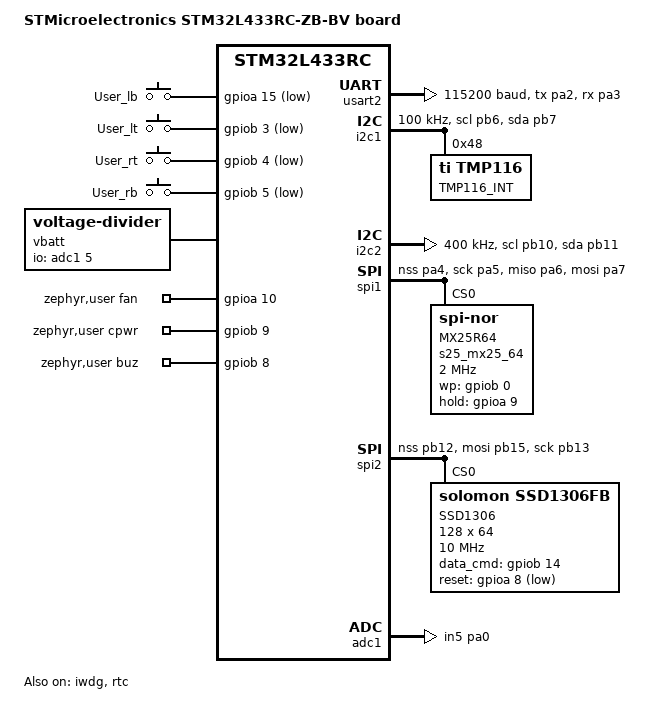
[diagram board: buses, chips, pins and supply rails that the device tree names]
/*
 * Copyright (c) 2021 ZedBlox
 *
 * SPDX-License-Identifier: Apache-2.0
 */

/dts-v1/;
#include <st/l4/stm32l433Xc.dtsi>
#include <st/l4/stm32l433rctxp-pinctrl.dtsi>

/ {
	model = "STMicroelectronics STM32L433RC-ZB-BV board";
	compatible = "st,stm32l433rc-p-zb-bv";

	chosen {
		zephyr,console = &usart2;
		zephyr,sram = &sram0;
		zephyr,flash = &flash0;
		zephyr,canbus = &can1;
	};

	gpio_keys {
		compatible = "gpio-keys";
		user_button_lb: button_lb {
			label = "User_lb";
			gpios = <&gpioa 15 GPIO_ACTIVE_LOW>;
		};
		user_button_lt: button_lt {
			label = "User_lt";
			gpios = <&gpiob 3 GPIO_ACTIVE_LOW>;
		};
		user_button_rt: button_rt {
			label = "User_rt";
			gpios = <&gpiob 4 GPIO_ACTIVE_LOW>;
		};
		user_button_rb: button_rb {
			label = "User_rb";
			gpios = <&gpiob 5 GPIO_ACTIVE_LOW>;
		};
	};

	aliases {
		sw0 = &user_button_lb;
		sw1 = &user_button_lt;
		sw2 = &user_button_rt;
		sw3 = &user_button_rb;
	};

	vbatt {
        status = "okay";
		compatible = "voltage-divider";
		io-channels = <&adc1 5>;
		output-ohms = <47000>;
		full-ohms = <(47000 + 220000)>;
	};

    zephyr,user {
		gpioa_h = <&gpioa>;
		gpiob_h = <&gpiob>;
		fan-gpios = <&gpioa 10 GPIO_ACTIVE_HIGH>;
		cpwr-gpios = <&gpiob 9 GPIO_ACTIVE_HIGH>;
		buz-gpios = <&gpiob 8 GPIO_ACTIVE_HIGH>;
		//cadc-channels = <&adc1 9>;
		//ntc-channels = <&adc1 1>;
    };
};

&clk_hsi {
	status = "okay";
};

&pll {
	div-m = <1>;
	mul-n = <20>;
	div-p = <7>;
	div-q = <2>;
	div-r = <4>;
	clocks = <&clk_hsi>;
	status = "okay";
};

&rcc {
	clocks = <&pll>;
	clock-frequency = <DT_FREQ_M(80)>;
	ahb-prescaler = <1>;
	apb1-prescaler = <1>;
	apb2-prescaler = <1>;
};

//zephyr_udc0: &usb {
//	pinctrl-0 = <&usb_dm_pa11 &usb_dp_pa12>;
//	status = "okay";
//};

&usart2 {
	pinctrl-0 = <&usart2_tx_pa2 &usart2_rx_pa3>;
	pinctrl-names = "default";
	current-speed = <115200>;
	status = "okay";
};

&i2c1 {
	pinctrl-0 = <&i2c1_scl_pb6 &i2c1_sda_pb7>;
	pinctrl-names = "default";
	status = "okay";
    clock-frequency = <I2C_BITRATE_STANDARD>;
	ti_tmp116: ti_tmp116@48 {
		compatible = "ti,tmp116";
		reg = <0x48>;
		label = "TMP116_INT";
	};
};

&i2c2 {
	pinctrl-0 = <&i2c2_scl_pb10 &i2c2_sda_pb11>;
	pinctrl-names = "default";
	status = "okay";
    clock-frequency = <I2C_BITRATE_FAST>;
    /*
	ti_tmp116: ti_tmp116@48 {
		compatible = "ti,tmp116";
		reg = <0x48>;
		label = "TMP116_INT";
	};
    */
};

&spi1 {
    pinctrl-0 = <&spi1_nss_pa4 &spi1_sck_pa5
             &spi1_miso_pa6 &spi1_mosi_pa7>;
	pinctrl-names = "default";
	status = "okay";

	s25_mx25: s25_mx25_64@0 {
		compatible = "jedec,spi-nor";
		reg = <0>;
		spi-max-frequency = <2000000>;
		label = "MX25R64";
		//jedec-id = [c2 28 17];
        jedec-id = [01 60 17];
		size = <67108864>;
		wp-gpios = <&gpiob 0 0>;
		hold-gpios = <&gpioa 9 0>;
    };
};

arduino_spi: &spi2 {
    pinctrl-0 = <&spi2_nss_pb12 &spi2_mosi_pb15 &spi2_sck_pb13>;
	pinctrl-names = "default";
    //cs-gpios = <&gpiob 12 (GPIO_ACTIVE_LOW)>;
	status = "okay";

    ssd1306@0 {
        compatible = "solomon,ssd1306fb";
        reg = <0x0>;
        label = "SSD1306";
        spi-max-frequency = <10000000>;
        width = <128>;
        height = <64>;
        segment-offset = <0>;
        page-offset = <0>;
        display-offset = <0>;
        multiplex-ratio = <63>;
        segment-remap;
        com-invdir;
        prechargep = <0x22>;
        data_cmd-gpios = <&gpiob 14 GPIO_ACTIVE_HIGH>;
        reset-gpios = <&gpioa 8 GPIO_ACTIVE_LOW>;
    };
};

&iwdg {
	status = "okay";
};

&rtc {
	status = "okay";
};

&adc1 {
	pinctrl-0 = <&adc1_in5_pa0>;
	pinctrl-names = "default";
	status = "okay";
};

/*
&dac1 {
	status = "okay";
	pinctrl-0 = <&dac_out1_pa4>;
};
*/

&flash0 {
	partitions {
		compatible = "fixed-partitions";
		#address-cells = <1>;
		#size-cells = <1>;

        storage_partition: partition@3c000 {
			label = "storage";
			reg = <0x0003c000 0x00004000>;
		};
	};
};

/*
&timers2 {
	status = "okay";

	pwm3: pwm {
		status = "okay";
		pinctrl-0 = <&tim2_ch1_pa6>;
        pinctrl-names = "default";
	};
};
*/

&dma1 {
	status = "okay";
};
